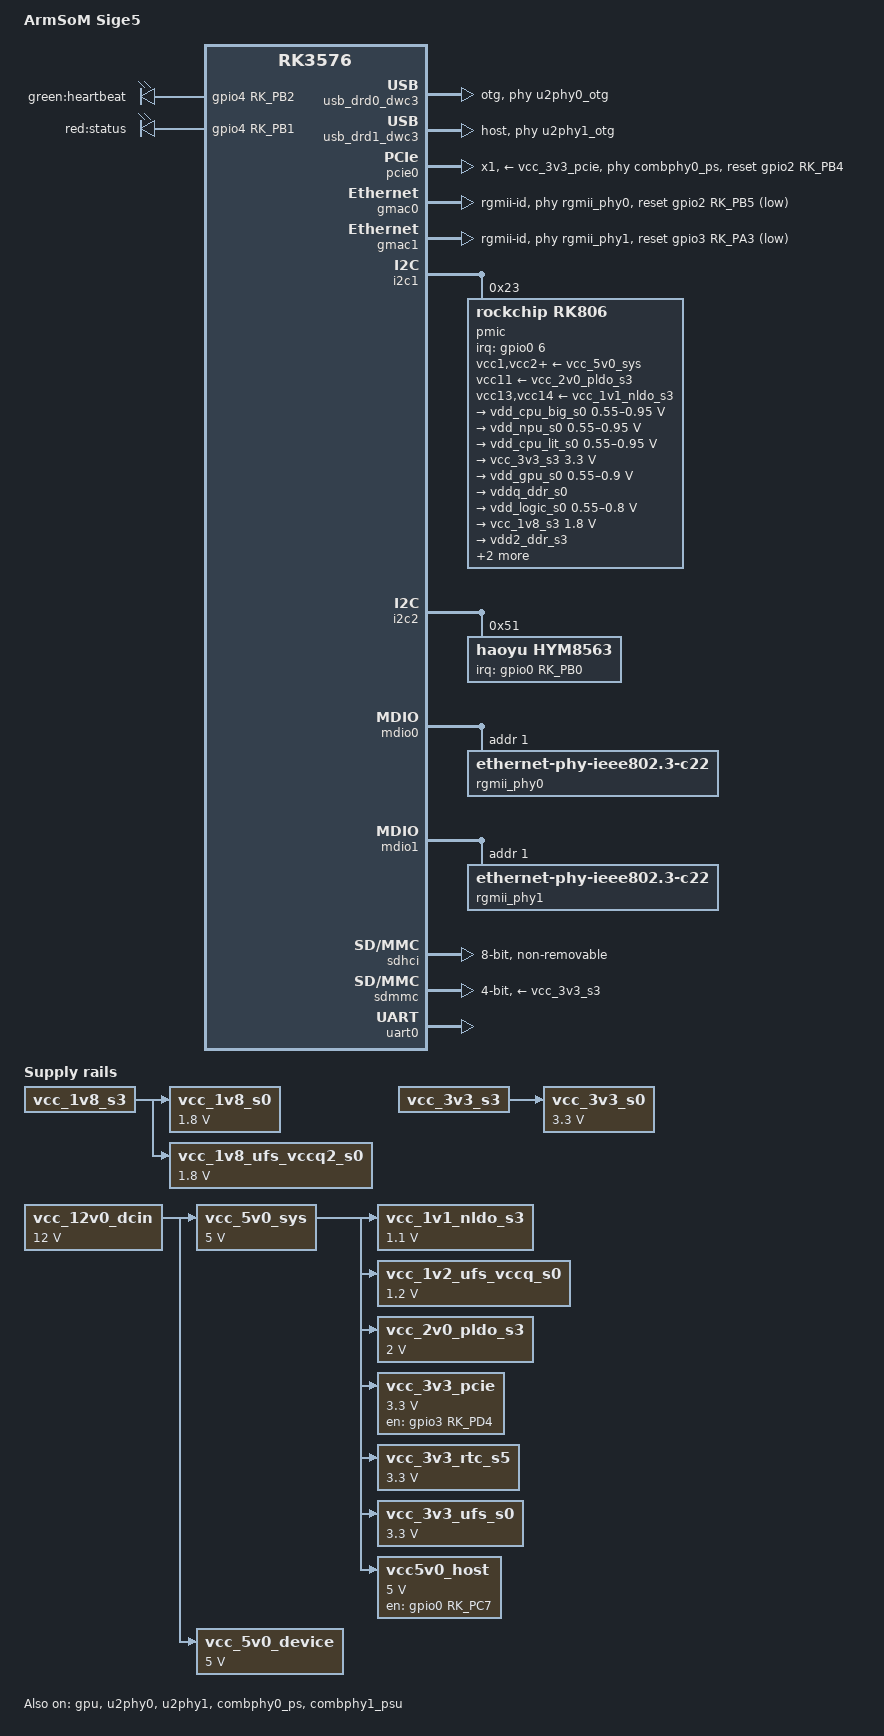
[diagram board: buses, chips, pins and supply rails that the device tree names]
// SPDX-License-Identifier: (GPL-2.0+ OR MIT)
/*
 * Copyright (c) 2024 Rockchip Electronics Co., Ltd.
 *
 */

/dts-v1/;

#include <dt-bindings/gpio/gpio.h>
#include <dt-bindings/leds/common.h>
#include <dt-bindings/pinctrl/rockchip.h>
#include <dt-bindings/pwm/pwm.h>
#include <dt-bindings/usb/pd.h>
#include "rk3576.dtsi"

/ {
	model = "ArmSoM Sige5";
	compatible = "armsom,sige5", "rockchip,rk3576";

	aliases {
		ethernet0 = &gmac0;
		ethernet1 = &gmac1;
		mmc0 = &sdhci;
		mmc1 = &sdmmc;

		led-boot = &red_led;
		led-failsafe = &red_led;
		led-running = &red_led;
		led-upgrade = &red_led;
	};

	chosen {
		stdout-path = "serial0:1500000n8";
	};

	leds: leds {
		compatible = "gpio-leds";

		green_led: green-led {
			label = "green:heartbeat";
			gpios = <&gpio4 RK_PB2 GPIO_ACTIVE_HIGH>;
			linux,default-trigger = "heartbeat";
		};

		red_led: red-led {
			label = "red:status";
			gpios = <&gpio4 RK_PB1 GPIO_ACTIVE_HIGH>;
		};
	};

	vcc_12v0_dcin: regulator-vcc-12v0-dcin {
		compatible = "regulator-fixed";
		regulator-name = "vcc_12v0_dcin";
		regulator-always-on;
		regulator-boot-on;
		regulator-min-microvolt = <12000000>;
		regulator-max-microvolt = <12000000>;
	};

	vcc_1v1_nldo_s3: regulator-vcc-1v1-nldo-s3 {
		compatible = "regulator-fixed";
		regulator-name = "vcc_1v1_nldo_s3";
		regulator-boot-on;
		regulator-always-on;
		regulator-min-microvolt = <1100000>;
		regulator-max-microvolt = <1100000>;
		vin-supply = <&vcc_5v0_sys>;
	};

	vcc_1v2_ufs_vccq_s0: regulator-vcc-1v2-ufs-vccq-s0 {
		compatible = "regulator-fixed";
		regulator-name = "vcc_1v2_ufs_vccq_s0";
		regulator-boot-on;
		regulator-always-on;
		regulator-min-microvolt = <1200000>;
		regulator-max-microvolt = <1200000>;
		vin-supply = <&vcc_5v0_sys>;
	};

	vcc_1v8_s0: regulator-vcc-1v8-s0 {
		compatible = "regulator-fixed";
		regulator-name = "vcc_1v8_s0";
		regulator-boot-on;
		regulator-always-on;
		regulator-min-microvolt = <1800000>;
		regulator-max-microvolt = <1800000>;
		vin-supply = <&vcc_1v8_s3>;
	};

	vcc_1v8_ufs_vccq2_s0: regulator-vcc-1v8-ufs-vccq2-s0 {
		compatible = "regulator-fixed";
		regulator-name = "vcc_1v8_ufs_vccq2_s0";
		regulator-boot-on;
		regulator-always-on;
		regulator-min-microvolt = <1800000>;
		regulator-max-microvolt = <1800000>;
		vin-supply = <&vcc_1v8_s3>;
	};

	vcc_2v0_pldo_s3: regulator-vcc-2v0-pldo-s3 {
		compatible = "regulator-fixed";
		regulator-name = "vcc_2v0_pldo_s3";
		regulator-boot-on;
		regulator-always-on;
		regulator-min-microvolt = <2000000>;
		regulator-max-microvolt = <2000000>;
		vin-supply = <&vcc_5v0_sys>;
	};

	vcc_3v3_pcie: regulator-vcc-3v3-pcie {
		compatible = "regulator-fixed";
		regulator-name = "vcc_3v3_pcie";
		regulator-min-microvolt = <3300000>;
		regulator-max-microvolt = <3300000>;
		enable-active-high;
		gpio = <&gpio3 RK_PD4 GPIO_ACTIVE_HIGH>;
		startup-delay-us = <5000>;
		vin-supply = <&vcc_5v0_sys>;
	};

	vcc_3v3_rtc_s5: regulator-vcc-3v3-rtc-s5 {
		compatible = "regulator-fixed";
		regulator-name = "vcc_3v3_rtc_s5";
		regulator-boot-on;
		regulator-always-on;
		regulator-min-microvolt = <3300000>;
		regulator-max-microvolt = <3300000>;
		vin-supply = <&vcc_5v0_sys>;
	};

	vcc_3v3_s0: regulator-vcc-3v3-s0 {
		compatible = "regulator-fixed";
		regulator-name = "vcc_3v3_s0";
		regulator-boot-on;
		regulator-always-on;
		regulator-min-microvolt = <3300000>;
		regulator-max-microvolt = <3300000>;
		vin-supply = <&vcc_3v3_s3>;
	};

	vcc_5v0_sys: regulator-vcc-5v0-sys {
		compatible = "regulator-fixed";
		regulator-name = "vcc_5v0_sys";
		regulator-always-on;
		regulator-boot-on;
		regulator-min-microvolt = <5000000>;
		regulator-max-microvolt = <5000000>;
		vin-supply = <&vcc_12v0_dcin>;
	};

	vcc_5v0_device: regulator-vcc-5v0-device {
		compatible = "regulator-fixed";
		regulator-name = "vcc_5v0_device";
		regulator-always-on;
		regulator-boot-on;
		regulator-min-microvolt = <5000000>;
		regulator-max-microvolt = <5000000>;
		vin-supply = <&vcc_12v0_dcin>;
	};

	vcc_3v3_ufs_s0: regulator-vcc-ufs-s0 {
		compatible = "regulator-fixed";
		regulator-name = "vcc_3v3_ufs_s0";
		regulator-boot-on;
		regulator-always-on;
		regulator-min-microvolt = <3300000>;
		regulator-max-microvolt = <3300000>;
		vin-supply = <&vcc_5v0_sys>;
	};

	vcc5v0_host: vcc5v0-host {
		compatible = "regulator-fixed";
		regulator-name = "vcc5v0_host";
		regulator-boot-on;
		regulator-always-on;
		regulator-min-microvolt = <5000000>;
		regulator-max-microvolt = <5000000>;
		enable-active-high;
		gpio = <&gpio0 RK_PC7 0>;
		vin-supply = <&vcc_5v0_sys>;
		pinctrl-names = "default";
		pinctrl-0 = <&usb_host_pwren>;
	};

	vo1_grf: syscon@26036000 {
		compatible = "rockchip,rk3576-vo-grf", "syscon";
		reg = <0x0 0x26036000 0x0 0x100>;
		clocks = <&cru PCLK_VO1_ROOT>;
	};
	
	usbdp_phy: phy@2b010000 {
		compatible = "rockchip,rk3576-usbdp-phy";
		reg = <0x0 0x2b010000 0x0 0x10000>;
		rockchip,u2phy-grf = <&usb2phy_grf>;
		rockchip,usb-grf = <&usb_grf>;
		rockchip,usbdpphy-grf = <&usbdpphy_grf>;
		rockchip,vo-grf = <&vo1_grf>;
		clocks = <&cru CLK_PHY_REF_SRC >,
			 <&cru CLK_USBDP_COMBO_PHY_IMMORTAL>,
			 <&cru PCLK_USBDPPHY>;
		clock-names = "refclk", "immortal", "pclk";
		resets = <&cru SRST_USBDP_COMBO_PHY_INIT>,
			 <&cru SRST_USBDP_COMBO_PHY_CMN>,
			 <&cru SRST_USBDP_COMBO_PHY_LANE>,
			 <&cru SRST_USBDP_COMBO_PHY_PCS>,
			 <&cru SRST_P_USBDPPHY>;
		reset-names = "init", "cmn", "lane", "pcs_apb", "pma_apb";
		status = "disabled";

		usbdp_phy_dp: dp-port {
			#phy-cells = <0>;
			status = "disabled";
		};

		usbdp_phy_u3: u3-port {
			#phy-cells = <0>;
			status = "disabled";
		};
	};

	usb2phy_grf: syscon@2602e000 {
		compatible = "rockchip,rk3576-usb2phy-grf", "syscon", "simple-mfd";
		reg = <0x0 0x2602e000 0x0 0x4000>;
		#address-cells = <1>;
		#size-cells = <1>;
		clocks = <&cru PCLK_PMUPHY_ROOT>;

		u2phy0: usb2-phy@0 {
			compatible = "rockchip,rk3576-usb2phy";
			reg = <0x0 0x10>;
			resets = <&cru SRST_OTGPHY_0>, <&cru SRST_P_USBPHY_GRF_0>;
			reset-names = "phy", "apb";
			clocks = <&cru CLK_PHY_REF_SRC>, <&cru ACLK_MMU2>, <&cru ACLK_SLV_MMU2>;
			clock-names = "phyclk", "aclk", "aclk_slv";
			clock-output-names = "usb480m_phy0";
			#clock-cells = <0>;
			rockchip,usbctrl-grf = <&usb_grf>;
			status = "disabled";

			u2phy0_otg: otg-port {
				#phy-cells = <0>;
				interrupts = <GIC_SPI 350 IRQ_TYPE_LEVEL_HIGH>,
					     <GIC_SPI 351 IRQ_TYPE_LEVEL_HIGH>,
					     <GIC_SPI 352 IRQ_TYPE_LEVEL_HIGH>;
				interrupt-names = "otg-bvalid", "otg-id", "linestate";
				status = "disabled";
			};
		};

		u2phy1: usb2-phy@2000 {
			compatible = "rockchip,rk3576-usb2phy";
			reg = <0x2000 0x10>;
			resets = <&cru SRST_OTGPHY_1>, <&cru SRST_P_USBPHY_GRF_1>;
			reset-names = "phy", "apb";
			clocks = <&cru CLK_PHY_REF_SRC>, <&cru ACLK_MMU1>, <&cru ACLK_SLV_MMU1>;
			clock-names = "phyclk", "aclk", "aclk_slv";
			clock-output-names = "usb480m_phy1";
			#clock-cells = <0>;
			rockchip,usbctrl-grf = <&php_grf>;
			status = "disabled";

			u2phy1_otg: otg-port {
				#phy-cells = <0>;
				interrupts = <GIC_SPI 354 IRQ_TYPE_LEVEL_HIGH>,
					     <GIC_SPI 355 IRQ_TYPE_LEVEL_HIGH>,
					     <GIC_SPI 356 IRQ_TYPE_LEVEL_HIGH>;
				interrupt-names = "otg-bvalid", "otg-id", "linestate";
				status = "disabled";
			};
		};
	};
	
	usb_drd0_dwc3: usb@23000000 {
		compatible = "rockchip,rk3576-dwc3", "snps,dwc3";
		reg = <0x0 0x23000000 0x0 0x400000>;
		clocks = <&cru CLK_REF_USB3OTG0>,
			 <&cru CLK_SUSPEND_USB3OTG0>,
			 <&cru ACLK_USB3OTG0>;
		clock-names = "ref", "suspend", "bus_clk";
		interrupts = <GIC_SPI 261 IRQ_TYPE_LEVEL_HIGH>;
		power-domains = <&power RK3576_PD_USB>;
		resets = <&cru SRST_A_USB3OTG0>;
		reset-names = "usb3-otg";
		dr_mode = "otg";
		phys = <&u2phy0_otg>, <&usbdp_phy_u3>;
		phy-names = "usb2-phy", "usb3-phy";
		phy_type = "utmi_wide";
		snps,dis_enblslpm_quirk;
		snps,dis-u1-entry-quirk;
		snps,dis-u2-entry-quirk;
		snps,dis-u2-freeclk-exists-quirk;
		snps,dis-del-phy-power-chg-quirk;
		snps,dis-tx-ipgap-linecheck-quirk;
		snps,parkmode-disable-hs-quirk;
		snps,parkmode-disable-ss-quirk;
		status = "disabled";
	};

	usb_drd1_dwc3: usb@23400000 {
		compatible = "rockchip,rk3576-dwc3", "snps,dwc3";
		reg = <0x0 0x23400000 0x0 0x400000>;
		clocks = <&cru CLK_REF_USB3OTG1>,
			 <&cru CLK_SUSPEND_USB3OTG1>,
			 <&cru ACLK_USB3OTG1>;
		clock-names = "ref", "suspend", "bus_clk";
		interrupts = <GIC_SPI 260 IRQ_TYPE_LEVEL_HIGH>;
		power-domains = <&power RK3576_PD_PHP>;
		resets = <&cru SRST_A_USB3OTG1>;
		reset-names = "usb3-otg";
		dr_mode = "otg";
		phys = <&u2phy1_otg>, <&combphy1_psu PHY_TYPE_USB3>;
		phy-names = "usb2-phy", "usb3-phy";
		phy_type = "utmi_wide";
		snps,dis_enblslpm_quirk;
		snps,dis-u1-entry-quirk;
		snps,dis-u2-entry-quirk;
		snps,dis-u2-freeclk-exists-quirk;
		snps,dis-del-phy-power-chg-quirk;
		snps,dis-tx-ipgap-linecheck-quirk;
		snps,dis_rxdet_inp3_quirk;
		snps,parkmode-disable-hs-quirk;
		snps,parkmode-disable-ss-quirk;
		dma-coherent;
		status = "disabled";
	};

	combphy0_ps: phy@2b050000 {
		compatible = "rockchip,rk3576-naneng-combphy";
		reg = <0x0 0x2b050000 0x0 0x100>;
		#phy-cells = <1>;
		clocks = <&cru CLK_REF_PCIE0_PHY>,
			 <&cru PCLK_PCIE2_COMBOPHY0>,
			 <&cru PCLK_PCIE0>;
		clock-names = "refclk", "apbclk", "pipe_clk";
		assigned-clocks = <&cru CLK_REF_PCIE0_PHY>;
		assigned-clock-rates = <100000000>;
		resets = <&cru SRST_P_PCIE2_COMBOPHY0>,
			 <&cru SRST_PCIE0_PIPE_PHY>;
		reset-names = "combphy-apb", "combphy";
		rockchip,pipe-grf = <&php_grf>;
		rockchip,pipe-phy-grf = <&pipe_phy0_grf>;
		status = "disabled";
	};

	combphy1_psu: phy@2b060000 {
		compatible = "rockchip,rk3576-naneng-combphy";
		reg = <0x0 0x2b060000 0x0 0x100>;
		#phy-cells = <1>;
		clocks = <&cru CLK_REF_PCIE1_PHY>,
			 <&cru PCLK_PCIE2_COMBOPHY1>,
			 <&cru PCLK_PCIE1>;
		clock-names = "refclk", "apbclk", "pipe_clk";
		assigned-clocks = <&cru CLK_REF_PCIE1_PHY>;
		assigned-clock-rates = <100000000>;
		resets = <&cru SRST_P_PCIE2_COMBOPHY1>,
			 <&cru SRST_PCIE1_PIPE_PHY>;
		reset-names = "combphy-apb", "combphy";
		rockchip,pipe-grf = <&php_grf>;
		rockchip,pipe-phy-grf = <&pipe_phy1_grf>;
		status = "disabled";
	};

	pcie0: pcie@2a200000 {
		compatible = "rockchip,rk3576-pcie", "snps,dw-pcie";
		#address-cells = <3>;
		#size-cells = <2>;
		bus-range = <0x0 0xf>;
		clocks = <&cru ACLK_PCIE0_MST>, <&cru ACLK_PCIE0_SLV>,
			 <&cru ACLK_PCIE0_DBI>, <&cru PCLK_PCIE0>,
			 <&cru CLK_PCIE0_AUX>;

		clock-names = "aclk_mst", "aclk_slv",
			      "aclk_dbi", "pclk",
			      "aux";
		device_type = "pci";
		interrupts = <GIC_SPI 283 IRQ_TYPE_LEVEL_HIGH>,
			     <GIC_SPI 281 IRQ_TYPE_LEVEL_HIGH>,
			     <GIC_SPI 282 IRQ_TYPE_LEVEL_HIGH>,
			     <GIC_SPI 279 IRQ_TYPE_LEVEL_HIGH>,
			     <GIC_SPI 280 IRQ_TYPE_LEVEL_HIGH>,
			     <GIC_SPI 278 IRQ_TYPE_LEVEL_HIGH>;
		interrupt-names = "msi", "sys", "pmc", "msg", "legacy", "err";
		#interrupt-cells = <1>;
		interrupt-map-mask = <0 0 0 7>;
		interrupt-map = <0 0 0 1 &pcie0_intc 0>,
				<0 0 0 2 &pcie0_intc 1>,
				<0 0 0 3 &pcie0_intc 2>,
				<0 0 0 4 &pcie0_intc 3>;
		linux,pci-domain = <0>;
		num-ib-windows = <8>;
		num-viewport = <8>;
		num-ob-windows = <2>;
		max-link-speed = <2>;
		num-lanes = <1>;
		phys = <&combphy0_ps PHY_TYPE_PCIE>;
		phy-names = "pcie-phy";
		power-domains = <&power RK3576_PD_PHP>;
		ranges = <0x00000800 0x0 0x20000000 0x0 0x20000000 0x0 0x00100000
			  0x81000000 0x0 0x20100000 0x0 0x20100000 0x0 0x00100000
			  0x82000000 0x0 0x20200000 0x0 0x20200000 0x0 0x00e00000
			  0xc3000000 0x9 0x00000000 0x9 0x00000000 0x0 0x80000000>;
		reg = <0x0 0x2a200000 0x0 0x00010000>,
		      <0x0 0x22000000 0x0 0x00400000>,
		      <0x0 0x20000000 0x0 0x00100000>;
		reg-names = "pcie-apb", "pcie-dbi", "config";
		resets = <&cru SRST_PCIE0_POWER_UP>, <&cru SRST_P_PCIE0>;
		reset-names = "pipe", "p_pcie0";
		dma-coherent;
		status = "disabled";

		pcie0_intc: legacy-interrupt-controller {
			interrupt-controller;
			#address-cells = <0>;
			#interrupt-cells = <1>;
			interrupt-parent = <&gic>;
			interrupts = <GIC_SPI 280 IRQ_TYPE_EDGE_RISING>;
		};
	};
};

&cpu_l0 {
	cpu-supply = <&vdd_cpu_lit_s0>;
};

&gmac0 {
	phy-mode = "rgmii-id";
	clock_in_out = "output";

	snps,reset-gpio = <&gpio2 RK_PB5 GPIO_ACTIVE_LOW>;
	snps,reset-active-low;
	snps,reset-delays-us = <0 20000 100000>;

	pinctrl-names = "default";
	pinctrl-0 = <&eth0m0_miim
		     &eth0m0_tx_bus2
		     &eth0m0_rx_bus2
		     &eth0m0_rgmii_clk
		     &eth0m0_rgmii_bus
		     &ethm0_clk0_25m_out>;

	phy-handle = <&rgmii_phy0>;
	status = "okay";
};

&gmac1 {
	phy-mode = "rgmii-id";
	clock_in_out = "output";

	snps,reset-gpio = <&gpio3 RK_PA3 GPIO_ACTIVE_LOW>;
	snps,reset-active-low;
	snps,reset-delays-us = <0 20000 100000>;

	pinctrl-names = "default";
	pinctrl-0 = <&eth1m0_miim
		     &eth1m0_tx_bus2
		     &eth1m0_rx_bus2
		     &eth1m0_rgmii_clk
		     &eth1m0_rgmii_bus
		     &ethm0_clk1_25m_out>;

	phy-handle = <&rgmii_phy1>;
	status = "okay";
};

&gpu {
	mali-supply = <&vdd_gpu_s0>;
	status = "okay";
};

&i2c1 {
	status = "okay";

	pmic@23 {
		compatible = "rockchip,rk806";
		reg = <0x23>;

		interrupt-parent = <&gpio0>;
		interrupts = <6 IRQ_TYPE_LEVEL_LOW>;

		pinctrl-names = "default";
		pinctrl-0 = <&pmic_pins>, <&rk806_dvs1_null>,
			    <&rk806_dvs2_null>, <&rk806_dvs3_null>;

		system-power-controller;

		vcc1-supply = <&vcc_5v0_sys>;
		vcc2-supply = <&vcc_5v0_sys>;
		vcc3-supply = <&vcc_5v0_sys>;
		vcc4-supply = <&vcc_5v0_sys>;
		vcc5-supply = <&vcc_5v0_sys>;
		vcc6-supply = <&vcc_5v0_sys>;
		vcc7-supply = <&vcc_5v0_sys>;
		vcc8-supply = <&vcc_5v0_sys>;
		vcc9-supply = <&vcc_5v0_sys>;
		vcc10-supply = <&vcc_5v0_sys>;
		vcc11-supply = <&vcc_2v0_pldo_s3>;
		vcc12-supply = <&vcc_5v0_sys>;
		vcc13-supply = <&vcc_1v1_nldo_s3>;
		vcc14-supply = <&vcc_1v1_nldo_s3>;
		vcca-supply = <&vcc_5v0_sys>;

		gpio-controller;
		#gpio-cells = <2>;

		rk806_dvs1_null: dvs1-null-pins {
			pins = "gpio_pwrctrl1";
			function = "pin_fun0";
		};

		rk806_dvs2_null: dvs2-null-pins {
			pins = "gpio_pwrctrl2";
			function = "pin_fun0";
		};

		rk806_dvs3_null: dvs3-null-pins {
			pins = "gpio_pwrctrl3";
			function = "pin_fun0";
		};

		rk806_dvs1_slp: dvs1-slp-pins {
			pins = "gpio_pwrctrl1";
			function = "pin_fun1";
		};

		rk806_dvs1_pwrdn: dvs1-pwrdn-pins {
			pins = "gpio_pwrctrl1";
			function = "pin_fun2";
		};

		rk806_dvs1_rst: dvs1-rst-pins {
			pins = "gpio_pwrctrl1";
			function = "pin_fun3";
		};

		rk806_dvs2_slp: dvs2-slp-pins {
			pins = "gpio_pwrctrl2";
			function = "pin_fun1";
		};

		rk806_dvs2_pwrdn: dvs2-pwrdn-pins {
			pins = "gpio_pwrctrl2";
			function = "pin_fun2";
		};

		rk806_dvs2_rst: dvs2-rst-pins {
			pins = "gpio_pwrctrl2";
			function = "pin_fun3";
		};

		rk806_dvs2_dvs: dvs2-dvs-pins {
			pins = "gpio_pwrctrl2";
			function = "pin_fun4";
		};

		rk806_dvs2_gpio: dvs2-gpio-pins {
			pins = "gpio_pwrctrl2";
			function = "pin_fun5";
		};

		rk806_dvs3_slp: dvs3-slp-pins {
			pins = "gpio_pwrctrl3";
			function = "pin_fun1";
		};

		rk806_dvs3_pwrdn: dvs3-pwrdn-pins {
			pins = "gpio_pwrctrl3";
			function = "pin_fun2";
		};

		rk806_dvs3_rst: dvs3-rst-pins {
			pins = "gpio_pwrctrl3";
			function = "pin_fun3";
		};

		rk806_dvs3_dvs: dvs3-dvs-pins {
			pins = "gpio_pwrctrl3";
			function = "pin_fun4";
		};

		rk806_dvs3_gpio: dvs3-gpio-pins {
			pins = "gpio_pwrctrl3";
			function = "pin_fun5";
		};

		regulators {
			vdd_cpu_big_s0: dcdc-reg1 {
				regulator-always-on;
				regulator-boot-on;
				regulator-min-microvolt = <550000>;
				regulator-max-microvolt = <950000>;
				regulator-ramp-delay = <12500>;
				regulator-name = "vdd_cpu_big_s0";
				regulator-enable-ramp-delay = <400>;
				regulator-state-mem {
					regulator-off-in-suspend;
				};
			};

			vdd_npu_s0: dcdc-reg2 {
				regulator-boot-on;
				regulator-min-microvolt = <550000>;
				regulator-max-microvolt = <950000>;
				regulator-ramp-delay = <12500>;
				regulator-name = "vdd_npu_s0";
				regulator-enable-ramp-delay = <400>;
				regulator-state-mem {
					regulator-off-in-suspend;
				};
			};

			vdd_cpu_lit_s0: dcdc-reg3 {
				regulator-always-on;
				regulator-boot-on;
				regulator-min-microvolt = <550000>;
				regulator-max-microvolt = <950000>;
				regulator-ramp-delay = <12500>;
				regulator-name = "vdd_cpu_lit_s0";
				regulator-state-mem {
					regulator-off-in-suspend;
					regulator-suspend-microvolt = <750000>;
				};
			};

			vcc_3v3_s3: dcdc-reg4 {
				regulator-always-on;
				regulator-boot-on;
				regulator-min-microvolt = <3300000>;
				regulator-max-microvolt = <3300000>;
				regulator-name = "vcc_3v3_s3";
				regulator-state-mem {
					regulator-on-in-suspend;
					regulator-suspend-microvolt = <3300000>;
				};
			};

			vdd_gpu_s0: dcdc-reg5 {
				regulator-boot-on;
				regulator-min-microvolt = <550000>;
				regulator-max-microvolt = <900000>;
				regulator-ramp-delay = <12500>;
				regulator-name = "vdd_gpu_s0";
				regulator-enable-ramp-delay = <400>;
				regulator-state-mem {
					regulator-off-in-suspend;
					regulator-suspend-microvolt = <850000>;
				};
			};

			vddq_ddr_s0: dcdc-reg6 {
				regulator-always-on;
				regulator-boot-on;
				regulator-name = "vddq_ddr_s0";
				regulator-state-mem {
					regulator-off-in-suspend;
				};
			};

			vdd_logic_s0: dcdc-reg7 {
				regulator-always-on;
				regulator-boot-on;
				regulator-min-microvolt = <550000>;
				regulator-max-microvolt = <800000>;
				regulator-name = "vdd_logic_s0";
				regulator-state-mem {
					regulator-off-in-suspend;
				};
			};

			vcc_1v8_s3: dcdc-reg8 {
				regulator-always-on;
				regulator-boot-on;
				regulator-min-microvolt = <1800000>;
				regulator-max-microvolt = <1800000>;
				regulator-name = "vcc_1v8_s3";
				regulator-state-mem {
					regulator-on-in-suspend;
					regulator-suspend-microvolt = <1800000>;
				};
			};

			vdd2_ddr_s3: dcdc-reg9 {
				regulator-always-on;
				regulator-boot-on;
				regulator-name = "vdd2_ddr_s3";
				regulator-state-mem {
					regulator-on-in-suspend;
				};
			};

			vdd_ddr_s0: dcdc-reg10 {
				regulator-always-on;
				regulator-boot-on;
				regulator-min-microvolt = <550000>;
				regulator-max-microvolt = <1200000>;
				regulator-name = "vdd_ddr_s0";
				regulator-state-mem {
					regulator-off-in-suspend;
				};
			};

			vcca_1v8_s0: pldo-reg1 {
				regulator-always-on;
				regulator-boot-on;
				regulator-min-microvolt = <1800000>;
				regulator-max-microvolt = <1800000>;
				regulator-name = "vcca_1v8_s0";
				regulator-state-mem {
					regulator-off-in-suspend;
				};
			};

			vcca1v8_pldo2_s0: pldo-reg2 {
				regulator-always-on;
				regulator-boot-on;
				regulator-min-microvolt = <1800000>;
				regulator-max-microvolt = <1800000>;
				regulator-name = "vcca1v8_pldo2_s0";
				regulator-state-mem {
					regulator-off-in-suspend;
				};
			};

			vdda_1v2_s0: pldo-reg3 {
				regulator-always-on;
				regulator-boot-on;
				regulator-min-microvolt = <1200000>;
				regulator-max-microvolt = <1200000>;
				regulator-name = "vdda_1v2_s0";
				regulator-state-mem {
					regulator-off-in-suspend;
				};
			};

			vcca_3v3_s0: pldo-reg4 {
				regulator-always-on;
				regulator-boot-on;
				regulator-min-microvolt = <3300000>;
				regulator-max-microvolt = <3300000>;
				regulator-name = "vcca_3v3_s0";
				regulator-state-mem {
					regulator-off-in-suspend;
				};
			};

			vccio_sd_s0: pldo-reg5 {
				regulator-always-on;
				regulator-boot-on;
				regulator-min-microvolt = <1800000>;
				regulator-max-microvolt = <3300000>;
				regulator-name = "vccio_sd_s0";
				regulator-state-mem {
					regulator-off-in-suspend;
				};
			};

			vcca1v8_pldo6_s3: pldo-reg6 {
				regulator-always-on;
				regulator-boot-on;
				regulator-min-microvolt = <1800000>;
				regulator-max-microvolt = <1800000>;
				regulator-name = "vcca1v8_pldo6_s3";
				regulator-state-mem {
					regulator-on-in-suspend;
					regulator-suspend-microvolt = <1800000>;
				};
			};

			vdd_0v75_s3: nldo-reg1 {
				regulator-always-on;
				regulator-boot-on;
				regulator-min-microvolt = <750000>;
				regulator-max-microvolt = <750000>;
				regulator-name = "vdd_0v75_s3";
				regulator-state-mem {
					regulator-on-in-suspend;
					regulator-suspend-microvolt = <750000>;
				};
			};

			vdda_ddr_pll_s0: nldo-reg2 {
				regulator-always-on;
				regulator-boot-on;
				regulator-min-microvolt = <850000>;
				regulator-max-microvolt = <850000>;
				regulator-name = "vdda_ddr_pll_s0";
				regulator-state-mem {
					regulator-off-in-suspend;
				};
			};

			vdda0v75_hdmi_s0: nldo-reg3 {
				regulator-always-on;
				regulator-boot-on;
				regulator-min-microvolt = <837500>;
				regulator-max-microvolt = <837500>;
				regulator-name = "vdda0v75_hdmi_s0";
				regulator-state-mem {
					regulator-off-in-suspend;
				};
			};

			vdda_0v85_s0: nldo-reg4 {
				regulator-always-on;
				regulator-boot-on;
				regulator-min-microvolt = <850000>;
				regulator-max-microvolt = <850000>;
				regulator-name = "vdda_0v85_s0";
				regulator-state-mem {
					regulator-off-in-suspend;
				};
			};

			vdda_0v75_s0: nldo-reg5 {
				regulator-always-on;
				regulator-boot-on;
				regulator-min-microvolt = <750000>;
				regulator-max-microvolt = <750000>;
				regulator-name = "vdda_0v75_s0";
				regulator-state-mem {
					regulator-off-in-suspend;
				};
			};
		};
	};
};

&i2c2 {
	status = "okay";

	hym8563: rtc@51 {
		compatible = "haoyu,hym8563";
		reg = <0x51>;
		clock-output-names = "hym8563";
		interrupt-parent = <&gpio0>;
		interrupts = <RK_PB0 IRQ_TYPE_LEVEL_LOW>;
		pinctrl-names = "default";
		pinctrl-0 = <&hym8563_int>;
		wakeup-source;
		#clock-cells = <0>;
	};
};

&mdio0 {
	rgmii_phy0: phy@1 {
		compatible = "ethernet-phy-ieee802.3-c22";
		reg = <0x1>;
		clocks = <&cru REFCLKO25M_GMAC0_OUT>;
		realtek,led-data = <0x6d60>;
	};
};

&mdio1 {
	rgmii_phy1: phy@1 {
		compatible = "ethernet-phy-ieee802.3-c22";
		reg = <0x1>;
		clocks = <&cru REFCLKO25M_GMAC1_OUT>;
		realtek,led-data = <0x6d60>;
	};
};

&pinctrl {
	headphone {
		hp_det: hp-det {
			rockchip,pins = <0 RK_PD3 RK_FUNC_GPIO &pcfg_pull_up>;
		};
	};

	hym8563 {
		hym8563_int: hym8563-int {
			rockchip,pins = <0 RK_PA0 RK_FUNC_GPIO &pcfg_pull_up>;
		};
	};

	leds {
		led_rgb_r: led-red-en {
			rockchip,pins = <4 RK_PB1 RK_FUNC_GPIO &pcfg_pull_none>;
		};
		led_rgb_g: led-green-en {
			rockchip,pins = <4 RK_PB2 RK_FUNC_GPIO &pcfg_pull_none>;
		};
	};

	usb {
		usb_host_pwren: usb-host-pwren {
			rockchip,pins = <0 RK_PC7 RK_FUNC_GPIO &pcfg_pull_none>;
		};

		usb_otg0_pwren: usb-otg0-pwren {
			rockchip,pins = <3 RK_PD6 RK_FUNC_GPIO &pcfg_pull_none>;
		};

		usbc0_int: usbc0-int {
			rockchip,pins = <0 RK_PD1 RK_FUNC_GPIO &pcfg_pull_up>;
		};
	};
};

&sdhci {
	bus-width = <8>;
	full-pwr-cycle-in-suspend;
	max-frequency = <200000000>;
	mmc-hs400-1_8v;
	mmc-hs400-enhanced-strobe;
	no-sdio;
	no-sd;
	non-removable;
	status = "okay";
};

&sdmmc {
	bus-width = <4>;
	cap-mmc-highspeed;
	cap-sd-highspeed;
	disable-wp;
	max-frequency = <200000000>;
	no-sdio;
	no-mmc;
	sd-uhs-sdr50;
	vmmc-supply = <&vcc_3v3_s3>;
	vqmmc-supply = <&vccio_sd_s0>;
	status = "okay";
};

&uart0 {
	pinctrl-0 = <&uart0m0_xfer>;
	status = "okay";
};

&combphy0_ps{
	status = "okay";
};

&pcie0 {
	reset-gpios = <&gpio2 RK_PB4 0>;
	vpcie3v3-supply = <&vcc_3v3_pcie>;
	status = "okay";
};

&u2phy0 {
	status = "okay";
};

&u2phy1 {
	status = "okay";
};

&combphy1_psu {
	status = "okay";
};

&usb_drd0_dwc3 {
	status = "okay";
};

&usb_drd1_dwc3 {
	dr_mode = "host";
	status = "okay";
};

&u2phy1_otg {
	phy-supply = <&vcc5v0_host>;
};
